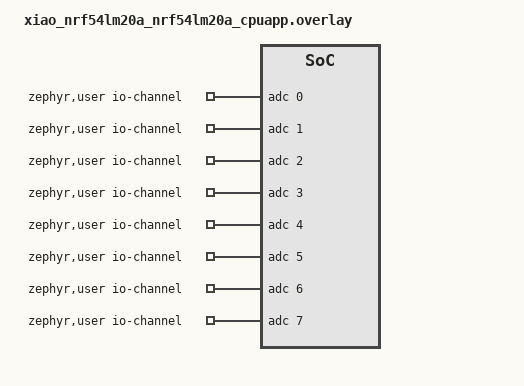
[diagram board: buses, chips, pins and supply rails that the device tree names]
/*
 * ADC demo overlay for XIAO nRF54LM20A
 *
 * Board DTS already defines adc channels 0..7 as NRF_SAADC_AIN0..AIN7.
 * This overlay only exposes them through zephyr,user for convenient access.
 */

/ {
	zephyr,user {
		io-channels = <&adc 0>, <&adc 1>, <&adc 2>, <&adc 3>,
			      <&adc 4>, <&adc 5>, <&adc 6>, <&adc 7>;
	};
};
